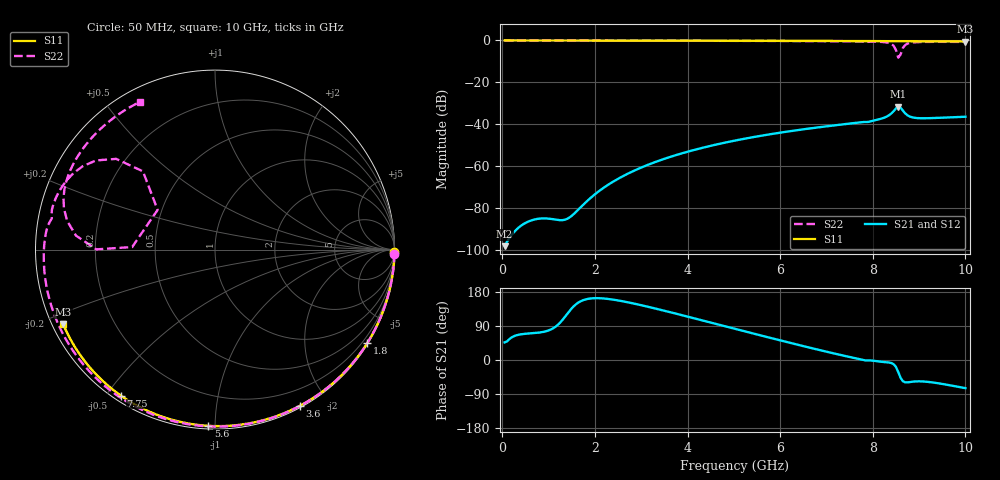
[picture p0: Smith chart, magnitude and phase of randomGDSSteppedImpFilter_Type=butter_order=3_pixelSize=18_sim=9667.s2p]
! freq	dB(S11)	phase(S11)	dB(S12)	phase(S12)
!  dB(S21)	phase(S21)	dB(S22)	phase(S22)
!S-par simulation data
#  GHz  S  DB  R 50
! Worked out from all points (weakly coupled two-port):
!   200 points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, 50 MHz to 10 GHz, reference 50 ohm
!   highest |S21| = -31.65 dB at 8.55 GHz (marker M1); lowest = -98.3 dB at 50 MHz (marker M2)
!   lowest |S11| = -0.5 dB at 10 GHz (marker M3), VSWR 33.75, Z = 1.56 - j11.6 ohm
!   |S11| at or under -10 dB: nowhere
!   |S22| runs from -8.2 to 0.0 dB; largest |S21 - S12| = 0
!   S11 on the Smith chart (normalised r, x): 50 MHz: open; 1.8 GHz: 0.03, -3.54; 3.6 GHz: 0.02, -1.68; 5.6 GHz: 0.02, -0.96; 7.75 GHz: 0.02, -0.55; 10 GHz: 0.03, -0.23
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0.05  -0.00 -0.9  -98.28 46.5  -98.28 46.5  -0.00 -1.3
0.8  -0.02 -14.2  -85.13 72.4  -85.13 72.4  -0.02 -20.9
1.65  -0.04 -29.0  -80.62 152.1  -80.62 152.1  -0.05 -42.5
1.75  -0.04 -30.7  -78.42 158.0  -78.42 158.0  -0.06 -45.0
1.8  -0.04 -31.6  -77.36 159.9  -77.36 159.9  -0.06 -46.2
2.5  -0.06 -43.4  -66.09 157.2  -66.09 157.2  -0.08 -63.4
3.4  -0.08 -58.3  -57.31 133.0  -57.31 133.0  -0.11 -84.7
3.6  -0.08 -61.5  -55.82 126.9  -55.82 126.9  -0.12 -89.3
5.05  -0.13 -84.0  -47.71 81.4  -47.71 81.4  -0.19 -122.0
5.6  -0.15 -92.2  -45.48 64.2  -45.48 64.2  -0.22 -134.3
6.7  -0.21 -108.1  -41.86 30.7  -41.86 30.7  -0.31 -159.4
7.75  -0.28 -122.8  -39.07 1.2  -39.07 1.2  -0.50 173.2
8.15  -0.32 -128.3  -37.57 -4.4  -37.57 -4.4  -0.65 159.8
8.35  -0.34 -131.0  -35.74 -6.6  -35.74 -6.6  -1.20 147.8
8.45  -0.35 -132.4  -33.78 -11.1  -33.78 -11.1  -2.53 137.4
8.5  -0.35 -133.1  -32.49 -18.3  -32.49 -18.3  -4.55 132.6
8.55  -0.35 -133.7  -31.65 -31.7  -31.65 -31.7  -8.21 145.3
8.6  -0.36 -134.4  -32.13 -46.8  -32.13 -46.8  -6.71 178.2
8.65  -0.36 -135.1  -33.52 -55.9  -33.52 -55.9  -3.60 179.9
8.8  -0.38 -137.2  -36.36 -58.2  -36.36 -58.2  -1.19 164.8
9.25  -0.43 -143.4  -37.11 -58.6  -37.11 -58.6  -0.67 143.1
10  -0.51 -153.8  -36.44 -74.3  -36.44 -74.3  -0.70 116.8
